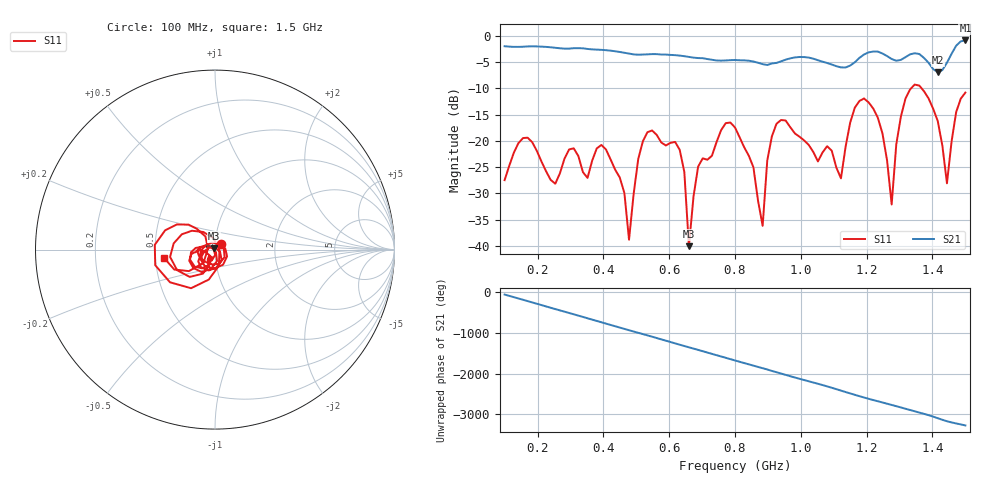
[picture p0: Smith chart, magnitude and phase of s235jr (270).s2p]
! NanoVNA-App
! Date: 2025-09-25 15:06:16
! Start: 100MHz Stop: 1,5GHz Points: 101
! S-Parameter data: F S11 S21 S12 S22
# Hz S RI R 50
!  Frequency  S11_Real  S11_Imag  S21_Real  S21_Imag  S12_Real  S12_Imag  S22_Real  S22_Imag
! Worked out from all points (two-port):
!   101 points, 100 MHz to 1.5 GHz, reference 50 ohm
!   highest |S21| = -0.86 dB at 1.5 GHz (marker M1); lowest = -6.9 dB at 1.416 GHz (marker M2)
!   |S21| within 3 dB of the highest: start of sweep to 645.8 MHz; 1.185 GHz to 1.263 GHz (77.77 MHz wide, 6.35 % of centre)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
!   lowest |S11| = -40.0 dB at 660 MHz (marker M3), VSWR 1.02, Z = 49.2 + j0.637 ohm
!   |S11| at or under -10 dB: start of sweep to 1.335 GHz; 1.367 GHz to end of sweep
!   S12 and S22 are empty: the file has one direction only
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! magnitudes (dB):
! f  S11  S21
! 100 MHz  -27.5  -2.0
! 156 MHz  -19.5  -2.1
! 338 MHz  -26.0  -2.4
! 408 MHz  -21.6  -2.7
! 478 MHz  -38.8  -3.4
! 520 MHz  -20.1  -3.5
! 576 MHz  -20.3  -3.5
! 632 MHz  -21.7  -3.7
! 660 MHz  -40.0  -4.0
! 688 MHz  -24.9  -4.2
! 800 MHz  -17.4  -4.6
! 884 MHz  -36.2  -5.4
! 926 MHz  -16.7  -5.1
! 1.038 GHz  -22.1  -4.3
! 1.122 GHz  -27.1  -6.0
! 1.192 GHz  -11.9  -3.5
! 1.248 GHz  -18.6  -3.3
! 1.276 GHz  -32.1  -4.4
! 1.332 GHz  -10.2  -3.5
! 1.416 GHz  -16.2  -6.9
! 1.444 GHz  -28.1  -5.1
! 1.5 GHz  -10.8  -0.9
